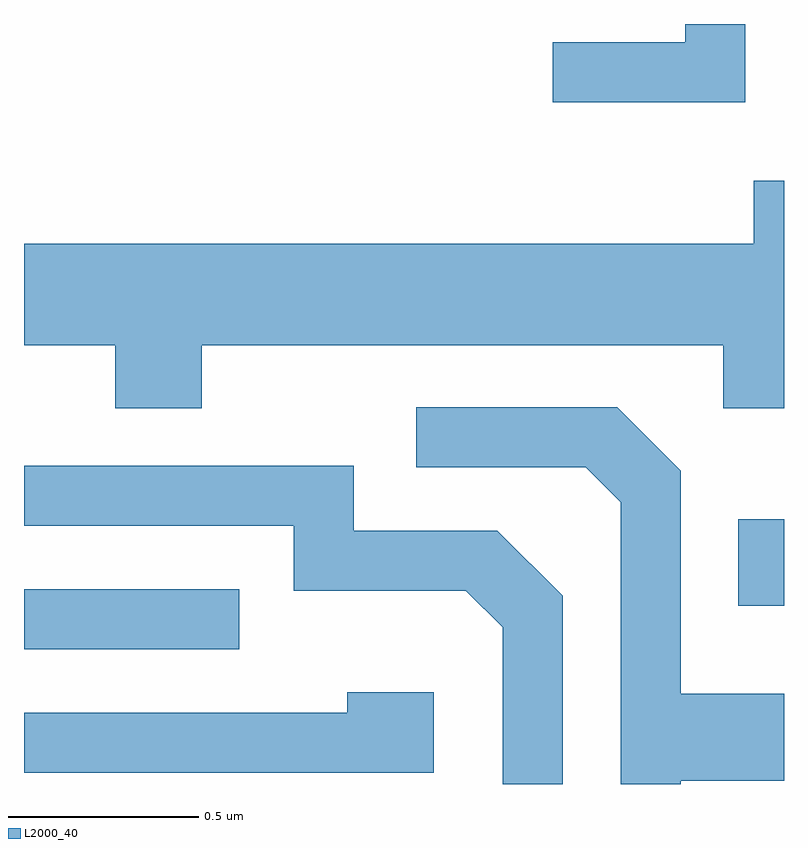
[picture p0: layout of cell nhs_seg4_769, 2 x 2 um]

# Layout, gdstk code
import gdstk
lib = gdstk.Library(unit=1e-6, precision=1e-09)
def R(c, l, rs):  # rectangles x0, y0, x1, y1
    for r in rs: c.add(gdstk.rectangle(r[:2], r[2:], *l))
def P(c, l, *ps):  # polygons
    for p in ps: c.add(gdstk.Polygon(p, *l))
L2000_40 = (2000, 40)

nhs_seg4_769 = lib.new_cell('nhs_seg4_769')
R(nhs_seg4_769, L2000_40, [(190.611,1338.336,191.178,1338.494), (192.491,1338.451,192.611,1338.679)])
P(nhs_seg4_769, L2000_40, [(192.509,1339.982),(192.351,1339.982),(192.351,1339.934),(192.003,1339.934),(192.003,1339.776),(192.509,1339.776)],
  [(191.079,1339.136),(192.451,1339.136),(192.451,1338.971),(192.611,1338.971),(192.611,1339.569),(192.531,1339.569),(192.531,1339.404),(190.611,1339.404),(190.611,1339.136),(190.851,1339.136),(190.851,1338.971),(191.079,1338.971)],
  [(192.339,1337.991),(192.611,1337.991),(192.611,1338.219),(192.339,1338.219),(192.339,1338.807),(192.172,1338.974),(191.643,1338.974),(191.643,1338.816),(192.089,1338.816),(192.181,1338.724),(192.181,1337.982),(192.339,1337.982)],
  [(192.029,1338.477),(191.857,1338.649),(191.479,1338.649),(191.479,1338.819),(190.611,1338.819),(190.611,1338.661),(191.321,1338.661),(191.321,1338.491),(191.774,1338.491),(191.871,1338.394),(191.871,1337.982),(192.029,1337.982)],
  [(191.689,1338.224),(191.461,1338.224),(191.461,1338.169),(190.611,1338.169),(190.611,1338.011),(191.689,1338.011)])

lib.write_gds('nhs_seg4_769.gds')
